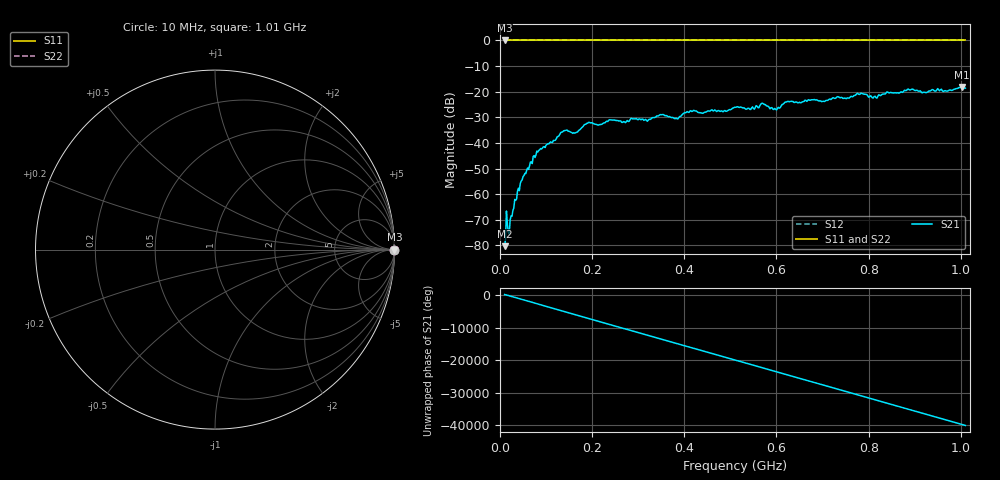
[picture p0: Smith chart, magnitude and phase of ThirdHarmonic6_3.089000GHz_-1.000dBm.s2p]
! 8/17/2025 9:04:53 AM
! C:\ANRITSUVNA\TEMP\TEMP.S2P
! CHANNEL.1
! TR.MEASUREMENT
! RAW.DATA
! RF.CORRECTION.OFF
! AVERAGING.OFF
! IF.BANDWIDTH: 5KHZ
! SWEEPTYPE:  FREQ.SWEEP(Linear)
! Reference Plane Port Info
! PORT:  PORT1  PORT2
! DISTANCE:  0  m  0  m
! TIME:  0  s  0  s
! PHASE.OFFSET:  0  deg.  0  deg.
! LOSS:  0  dB  0  dB
! REF.LOSS:  0  dB  0  dB
! REF.FREQ:  0  Hz  0  Hz
! Power Info
! POWER:  -20  dBm  -20  dBm
! EFF.POWER:  -20  dBm  -20  dBm
! SOURCE.ATTEN:  0  dB  0  dB
! TEST.ATTEN:  0  dB  0  dB
# GHZ S RI R 50.0
! FREQ.GHZ  S11RE  S11IM  S21RE  S21IM  S12RE  S12IM  S22RE  S22IM
!; PortSelection: Port_12
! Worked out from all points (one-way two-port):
!   501 points, 10 MHz to 1.01 GHz, reference 50 ohm
!   highest |S21| = -18.14 dB at 1.002 GHz (marker M1); lowest = -80.3 dB at 10 MHz (marker M2)
!   lowest |S11| = 0.0 dB at 10 MHz (marker M3)
!   |S11| at or under -10 dB: nowhere
!   |S22| runs from 0.0 to 0.0 dB; largest |S21 - S12| = 1.1
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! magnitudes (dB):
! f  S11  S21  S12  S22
! 10 MHz  0.0  -80.3  0.0  0.0
! 18 MHz  0.0  -74.8  0.0  0.0
! 22 MHz  0.0  -70.0  0.0  0.0
! 36 MHz  0.0  -61.9  0.0  0.0
! 48 MHz  0.0  -54.4  0.0  0.0
! 76 MHz  0.0  -45.7  0.0  0.0
! 136 MHz  0.0  -35.6  0.0  0.0
! 162 MHz  0.0  -36.1  0.0  0.0
! 178 MHz  0.0  -33.9  0.0  0.0
! 192 MHz  0.0  -32.0  0.0  0.0
! 344 MHz  0.0  -29.4  0.0  0.0
! 382 MHz  0.0  -30.4  0.0  0.0
! 416 MHz  0.0  -27.7  0.0  0.0
! 510 MHz  0.0  -26.1  0.0  0.0
! 570 MHz  0.0  -24.5  0.0  0.0
! 598 MHz  0.0  -26.8  0.0  0.0
! 622 MHz  0.0  -24.0  0.0  0.0
! 678 MHz  0.0  -23.1  0.0  0.0
! 814 MHz  0.0  -21.8  0.0  0.0
! 844 MHz  0.0  -20.5  0.0  0.0
! 1.002 GHz  0.0  -18.1  0.0  0.0
! 1.01 GHz  0.0  -18.6  0.0  0.0
